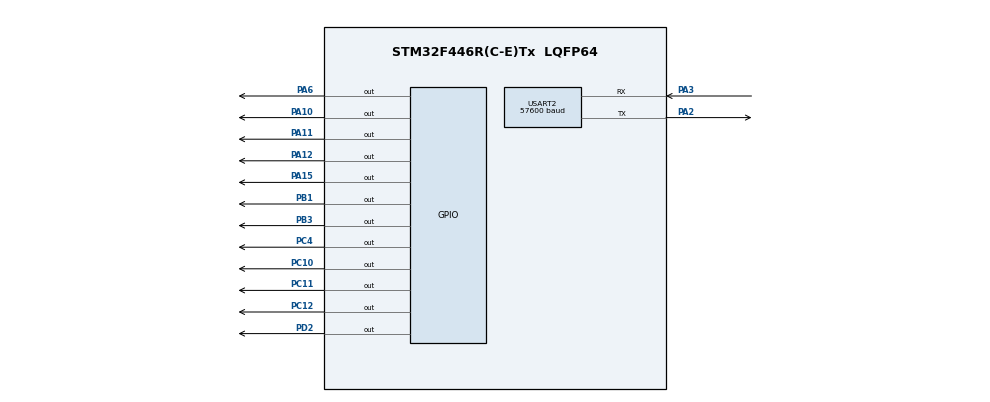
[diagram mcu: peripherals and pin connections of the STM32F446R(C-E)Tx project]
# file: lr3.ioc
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Mcu.Family=STM32F4
RCC.CortexFreq_Value=16000000
PC11.Signal=GPIO_Output
PC10.Signal=GPIO_Output
PC12.Signal=GPIO_Output
PC4.Signal=GPIO_Output
NVIC.USART2_IRQn=true\:0\:0\:false\:false\:true\:true\:true
USART2.BaudRate=57600
ProjectManager.StackSize=0x400
PA3.Mode=Asynchronous
PA12.Signal=GPIO_Output
ProjectManager.TargetToolchain=STM32CubeIDE
RCC.USBFreq_Value=96000000
board=custom
RCC.VCOOutputFreq_Value=192000000
Mcu.Name=STM32F446R(C-E)Tx
PA2.Signal=USART2_TX
PB3.Signal=GPIO_Output
Mcu.Package=LQFP64
PB1.Signal=GPIO_Output
PA6.Signal=GPIO_Output
USART2.VirtualMode=VM_ASYNC
PA11.Signal=GPIO_Output
PA10.Signal=GPIO_Output
PA15.Signal=GPIO_Output
ProjectManager.HeapSize=0x200
NVIC.PriorityGroup=NVIC_PRIORITYGROUP_4
PA2.Mode=Asynchronous
PD2.Signal=GPIO_Output
PA3.Signal=USART2_RX

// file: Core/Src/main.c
/* USER CODE BEGIN Header */
/**
  ******************************************************************************
  * @file           : main.c
  * @brief          : Main program body
  ******************************************************************************
  * @attention
  *
  * <h2><center>&copy; Copyright (c) 2023 STMicroelectronics.
  * All rights reserved.</center></h2>
  *
  * This software component is licensed by ST under BSD 3-Clause license,
  * the "License"; You may not use this file except in compliance with the
  * License. You may obtain a copy of the License at:
  *                        opensource.org/licenses/BSD-3-Clause
  *
  ******************************************************************************
  */
/* USER CODE END Header */
#include "main.h"

UART_HandleTypeDef huart2;

void SystemClock_Config(void);
static void MX_GPIO_Init(void);
static void MX_USART2_UART_Init(void);

/* USER CODE BEGIN 0 */
static uint8_t *rx_buffer;
static uint8_t *tx_buffer;
static uint8_t current_number = 0;
static uint8_t changed_number = 0;
static const float e = 2.71828;

const GPIO_TypeDef* segments_port[9] = {0, GPIOA, GPIOA, GPIOA, GPIOC, GPIOC, GPIOD, GPIOC, GPIOA };
const uint16_t segments_pins[9] = {0, GPIO_PIN_6, GPIO_PIN_12, GPIO_PIN_11, GPIO_PIN_10, GPIO_PIN_11, GPIO_PIN_2, GPIO_PIN_12, GPIO_PIN_15};

const GPIO_TypeDef* section_port[4] = {GPIOC, GPIOA, GPIOB, GPIOB};
const uint16_t section_pins[4] = {GPIO_PIN_4, GPIO_PIN_10, GPIO_PIN_3, GPIO_PIN_1};

const int numbers[10][8] = {
		{1, 2, 3, 4 ,5, 6, -1},
		{2, 3, -1},
		{1, 2, 7, 5, 4, -1},
		{1, 2, 3, 4, 7, -1},
		{6, 7, 2, 3, -1},
		{1, 6, 7, 3, 4, -1},
		{1, 6, 5, 4, 3, 7, -1},
		{1, 2, 3, -1},
		{1,2,3,4,5,6,7,-1},
		{1,2,3,4,6,7,-1}
};

void turn_off_LED(){
	for (int i = 0; i<4; i++){
			HAL_GPIO_WritePin(section_port[i], section_pins[i], GPIO_PIN_SET);
		}

	for (int i = 1; i<10; i++){
		HAL_GPIO_WritePin(segments_port[i], segments_pins[i], GPIO_PIN_SET);
	}
}

int set_digit(int number){
	turn_off_LED();
	if (number < -999) number = -999;
	if (number > 9999) number = 9999;

	int discharge = 0;
	if (number != 0){
		discharge = log10(abs(number));
	}

	for (int section = 0; section<discharge+1; section++){
		turn_off_LED();
		HAL_GPIO_WritePin(section_port[section], section_pins[section], GPIO_PIN_RESET);

		int num = abs(number % (int)(pow(10,section+1))/ (int)pow(10,section));
		int i = 0;

		while (numbers[num][i] != -1){
			HAL_GPIO_WritePin(segments_port[numbers[num][i]], segments_pins[numbers[num][i]], GPIO_PIN_RESET);
			i++;
		}
		HAL_Delay(5);

	}
	if (number < 0) {
		turn_off_LED();
		HAL_GPIO_WritePin(section_port[discharge+1], section_pins[discharge+1], GPIO_PIN_RESET);
		HAL_GPIO_WritePin(segments_port[7], segments_pins[7], GPIO_PIN_RESET);
		HAL_Delay(5);
	}

	//HAL_GPIO_WritePin(section_port[3 - discharge], section_pins[3 - discharge], GPIO_PIN_RESET);
	//HAL_GPIO_WritePin(segments_port[9], segments_pins[9], GPIO_PIN_RESET);
	//HAL_Delay(5);

	return 1;
}
/* USER CODE END 0 */

int main(void)
{

  /* MCU Configuration--------------------------------------------------------*/

  /* Reset of all peripherals, Initializes the Flash interface and the Systick. */
  HAL_Init();

  /* Configure the system clock */
  SystemClock_Config();

  /* Initialize all configured peripherals */
  MX_GPIO_Init();
  MX_USART2_UART_Init();
  /* USER CODE BEGIN 2 */
  rx_buffer = (uint8_t*) malloc(sizeof(uint8_t)*8);
  tx_buffer = (uint8_t*) malloc(sizeof(uint8_t)*8);
  HAL_UART_Receive_IT(&huart2, rx_buffer, 4);
  /* USER CODE END 2 */

  /* Infinite loop */
  /* USER CODE BEGIN WHILE */
  while (1)
  {
	  set_digit(changed_number);
    /* USER CODE END WHILE */

    /* USER CODE BEGIN 3 */
  }
  free(rx_buffer);
  free(tx_buffer);
  /* USER CODE END 3 */
}

void SystemClock_Config(void)
{
  RCC_OscInitTypeDef RCC_OscInitStruct = {0};
  RCC_ClkInitTypeDef RCC_ClkInitStruct = {0};

  /** Configure the main internal regulator output voltage
  */
  __HAL_RCC_PWR_CLK_ENABLE();
  __HAL_PWR_VOLTAGESCALING_CONFIG(PWR_REGULATOR_VOLTAGE_SCALE3);
  /** Initializes the RCC Oscillators according to the specified parameters
  * in the RCC_OscInitTypeDef structure.
  */
  RCC_OscInitStruct.OscillatorType = RCC_OSCILLATORTYPE_HSI;
  RCC_OscInitStruct.HSIState = RCC_HSI_ON;
  RCC_OscInitStruct.HSICalibrationValue = RCC_HSICALIBRATION_DEFAULT;
  RCC_OscInitStruct.PLL.PLLState = RCC_PLL_NONE;
  if (HAL_RCC_OscConfig(&RCC_OscInitStruct) != HAL_OK)
  {
    Error_Handler();
  }
  /** Initializes the CPU, AHB and APB buses clocks
  */
  RCC_ClkInitStruct.ClockType = RCC_CLOCKTYPE_HCLK|RCC_CLOCKTYPE_SYSCLK
                              |RCC_CLOCKTYPE_PCLK1|RCC_CLOCKTYPE_PCLK2;
  RCC_ClkInitStruct.SYSCLKSource = RCC_SYSCLKSOURCE_HSI;
  RCC_ClkInitStruct.AHBCLKDivider = RCC_SYSCLK_DIV1;
  RCC_ClkInitStruct.APB1CLKDivider = RCC_HCLK_DIV1;
  RCC_ClkInitStruct.APB2CLKDivider = RCC_HCLK_DIV1;

  if (HAL_RCC_ClockConfig(&RCC_ClkInitStruct, FLASH_LATENCY_0) != HAL_OK)
  {
    Error_Handler();
  }
}

static void MX_USART2_UART_Init(void)
{

  huart2.Instance = USART2;
  huart2.Init.BaudRate = 57600;
  huart2.Init.WordLength = UART_WORDLENGTH_8B;
  huart2.Init.StopBits = UART_STOPBITS_1;
  huart2.Init.Parity = UART_PARITY_NONE;
  huart2.Init.Mode = UART_MODE_TX_RX;
  huart2.Init.HwFlowCtl = UART_HWCONTROL_NONE;
  huart2.Init.OverSampling = UART_OVERSAMPLING_16;
  if (HAL_UART_Init(&huart2) != HAL_OK)
  {
    Error_Handler();
  }

}

static void MX_GPIO_Init(void)
{
  GPIO_InitTypeDef GPIO_InitStruct = {0};

  /* GPIO Ports Clock Enable */
  __HAL_RCC_GPIOA_CLK_ENABLE();
  __HAL_RCC_GPIOC_CLK_ENABLE();
  __HAL_RCC_GPIOB_CLK_ENABLE();
  __HAL_RCC_GPIOD_CLK_ENABLE();

  /*Configure GPIO pin Output Level */
  HAL_GPIO_WritePin(GPIOA, GPIO_PIN_6|GPIO_PIN_10|GPIO_PIN_11|GPIO_PIN_12
                          |GPIO_PIN_15, GPIO_PIN_RESET);

  /*Configure GPIO pin Output Level */
  HAL_GPIO_WritePin(GPIOC, GPIO_PIN_4|GPIO_PIN_10|GPIO_PIN_11|GPIO_PIN_12, GPIO_PIN_RESET);

  /*Configure GPIO pin Output Level */
  HAL_GPIO_WritePin(GPIOB, GPIO_PIN_1|GPIO_PIN_3, GPIO_PIN_RESET);

  /*Configure GPIO pin Output Level */
  HAL_GPIO_WritePin(GPIOD, GPIO_PIN_2, GPIO_PIN_RESET);

  /*Configure GPIO pins : PA6 PA10 PA11 PA12
                           PA15 */
  GPIO_InitStruct.Pin = GPIO_PIN_6|GPIO_PIN_10|GPIO_PIN_11|GPIO_PIN_12
                          |GPIO_PIN_15;
  GPIO_InitStruct.Mode = GPIO_MODE_OUTPUT_PP;
  GPIO_InitStruct.Pull = GPIO_NOPULL;
  GPIO_InitStruct.Speed = GPIO_SPEED_FREQ_LOW;
  HAL_GPIO_Init(GPIOA, &GPIO_InitStruct);

  /*Configure GPIO pins : PC4 PC10 PC11 PC12 */
  GPIO_InitStruct.Pin = GPIO_PIN_4|GPIO_PIN_10|GPIO_PIN_11|GPIO_PIN_12;
  GPIO_InitStruct.Mode = GPIO_MODE_OUTPUT_PP;
  GPIO_InitStruct.Pull = GPIO_NOPULL;
  GPIO_InitStruct.Speed = GPIO_SPEED_FREQ_LOW;
  HAL_GPIO_Init(GPIOC, &GPIO_InitStruct);

  /*Configure GPIO pins : PB1 PB3 */
  GPIO_InitStruct.Pin = GPIO_PIN_1|GPIO_PIN_3;
  GPIO_InitStruct.Mode = GPIO_MODE_OUTPUT_PP;
  GPIO_InitStruct.Pull = GPIO_NOPULL;
  GPIO_InitStruct.Speed = GPIO_SPEED_FREQ_LOW;
  HAL_GPIO_Init(GPIOB, &GPIO_InitStruct);

  /*Configure GPIO pin : PD2 */
  GPIO_InitStruct.Pin = GPIO_PIN_2;
  GPIO_InitStruct.Mode = GPIO_MODE_OUTPUT_PP;
  GPIO_InitStruct.Pull = GPIO_NOPULL;
  GPIO_InitStruct.Speed = GPIO_SPEED_FREQ_LOW;
  HAL_GPIO_Init(GPIOD, &GPIO_InitStruct);

}

/* USER CODE BEGIN 4 */
void HAL_UART_RxCpltCallback(UART_HandleTypeDef *huart) {

	//?��?а?��?па?��??��?ит�? данные
	for (int i=1; i<3; i++){
		char sym = rx_buffer[i];
		current_number += sym -48 ;//) * pow(10, i%2);
	}

	//ма?��?. п?��?еоб?��?азование
	changed_number = pow(e, current_number);

	//упаковат�?
	sprintf(tx_buffer, "\r%d\n", changed_number);

	//отп?��?авит�? об?��?атно
	HAL_UART_Transmit_IT(&huart2, tx_buffer, 4);

	current_number = 0;
	HAL_UART_Receive_IT(&huart2, rx_buffer, 4);

}
/* USER CODE END 4 */

void Error_Handler(void)
{
  __disable_irq();
  while (1)
  {
  }
}

/************************ (C) COPYRIGHT STMicroelectronics *****END OF FILE****/
